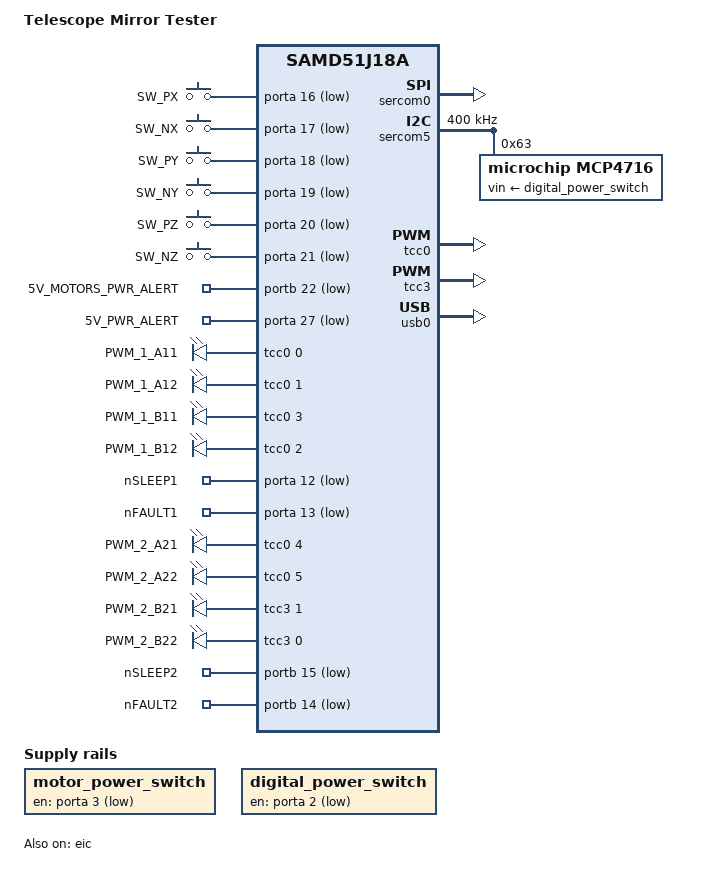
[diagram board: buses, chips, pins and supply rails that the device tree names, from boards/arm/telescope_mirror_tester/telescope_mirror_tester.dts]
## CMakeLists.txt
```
list(APPEND ZEPHYR_EXTRA_MODULES ${CMAKE_CURRENT_SOURCE_DIR}/mcp4716_driver_module)
list(APPEND ZEPHYR_EXTRA_MODULES ${CMAKE_CURRENT_SOURCE_DIR}/pmw3360_driver_module)

cmake_minimum_required(VERSION 3.13.1)

set(BOARD_ROOT ${CMAKE_CURRENT_SOURCE_DIR})
set(BOARD telescope_mirror_tester)

find_package(Zephyr REQUIRED HINTS $ENV{ZEPHYR_BASE})
project(telescope_mirror_tester)

target_sources(app PRIVATE src/main.c)
```

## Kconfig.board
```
# Telescope Mirror Tester board configuration

# Copyright (c) 2020 Google LLC.
# SPDX-License-Identifier: Apache-2.0

config BOARD_TELESCOPE_MIRROR_TESTER
	bool "Telescope Mirror Tester"
	depends on SOC_PART_NUMBER_SAMD51J18A
```

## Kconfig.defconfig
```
# Telescope Mirror Tester board configuration

# Copyright (c) 2020 Google LLC.
# SPDX-License-Identifier: Apache-2.0

config BOARD
	default "Telescope Mirror Tester"
	depends on BOARD_TELESCOPE_MIRROR_TESTER
```

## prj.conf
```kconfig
CONFIG_USB=y
CONFIG_USB_DEVICE_STACK=y
CONFIG_USB_DEVICE_PRODUCT="Telescope Mirror Tester"
CONFIG_USB_UART_CONSOLE=y

CONFIG_UART_INTERRUPT_DRIVEN=y
CONFIG_UART_LINE_CTRL=y
CONFIG_UART_SHELL_ON_DEV_NAME="CDC_ACM_0"

CONFIG_SHELL=y
CONFIG_SHELL_BACKEND_SERIAL_INIT_PRIORITY=99

CONFIG_LOG=y
```

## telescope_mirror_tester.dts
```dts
/*
 * Copyright (c) 2020 Google LLC.
 *
 * SPDX-License-Identifier: Apache-2.0
 */

/dts-v1/;
#include <atmel/samd5xx18.dtsi>

/ {
	model = "Telescope Mirror Tester";
	compatible = "";

	chosen {
		zephyr,console = &sercom3;
		zephyr,shell-uart = &sercom3;
		zephyr,sram = &sram0;
		zephyr,flash = &flash0;
		zephyr,code-partition = &code_partition;
	};

	/* These aliases are provided for compatibility with samples */
	aliases {
		led0 = &led0;
		pwm-led0 = &pwm_led0;
		pwm-0 = &tcc0;
	};

	leds {
		compatible = "gpio-leds";
		led0: led_0 {
			gpios = <&porta 22 0>;
			label = "LED";
		};
	};

	pwmleds {
		compatible = "pwm-leds";
		pwm_led0: pwm_led_0 {
			pwms = <&tcc0 2>;
		};
	};
};

&cpu0 {
	clock-frequency = <120000000>;
};

&sercom3 {
	status = "okay";
	compatible = "atmel,sam0-uart";
	current-speed = <115200>;
	rxpo = <1>;
	txpo = <0>;
};

&sercom1 {
	status = "okay";
	compatible = "atmel,sam0-spi";
	dipo = <3>;
	dopo = <0>;

	#address-cells = <1>;
	#size-cells = <0>;
};

&tcc0 {
	status = "okay";
	compatible = "atmel,sam0-tcc-pwm";
	prescaler = <8>;

	#pwm-cells = <1>;
};

&usb0 {
	status = "okay";
};

&dmac {
	status = "okay";
};

&flash0 {
	partitions {
		compatible = "fixed-partitions";
		#address-cells = <1>;
		#size-cells = <1>;

		boot_partition: partition@0 {
			label = "uf2";
			reg = <0x00000000 DT_SIZE_K(16)>;
			read-only;
		};

		code_partition: partition@4000 {
			label = "code";
			reg = <0x4000 DT_SIZE_K(512-16-16)>;
			read-only;
		};

		/*
		 * The final 16 KiB is reserved for the application.
		 * Storage partition will be used by FCB/LittleFS/NVS
		 * if enabled.
		 */
		storage_partition: partition@7c000 {
			label = "storage";
			reg = <0x7c000 DT_SIZE_K(16)>;
		};
	};
};
```

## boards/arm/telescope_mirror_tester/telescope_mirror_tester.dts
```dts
/*
 * Copyright (c) 2020 Google LLC.
 *
 * SPDX-License-Identifier: Apache-2.0
 */

/dts-v1/;
#include <atmel/samd5xx18.dtsi>

/ {
	model = "Telescope Mirror Tester";
	compatible = "atmel,samd51j18a";

	chosen {
		zephyr,console = &sercom3;
		zephyr,shell-uart = &sercom3;
		zephyr,sram = &sram0;
		zephyr,flash = &flash0;
	};

	limit_switches {
		compatible = "gpio-keys";
		switch_positive_x: SW3_1 {
			gpios = <&porta 16 (GPIO_ACTIVE_LOW)>;
			label = "SW_PX";
		};
		switch_negative_x: SW3_3 {
			gpios = <&porta 17 (GPIO_ACTIVE_LOW)>;
			label = "SW_NX";
		};
		switch_positive_y: SW4_1 {
			gpios = <&porta 18 (GPIO_ACTIVE_LOW)>;
			label = "SW_PY";
		};
		switch_negative_y: SW4_3 {
			gpios = <&porta 19 (GPIO_ACTIVE_LOW)>;
			label = "SW_NY";
		};
		switch_positive_z: J11 {
			gpios = <&porta 20 (GPIO_ACTIVE_LOW)>;
			label = "SW_PZ";
		};
		switch_negative_z: J12 {
			gpios = <&porta 21 (GPIO_ACTIVE_LOW)>;
			label = "SW_NZ";
		};
	};

	power_monitor_flags {
		compatible = "gpio-keys";
		motor_drives_alert: OC_1 {
			gpios = <&portb 22 (GPIO_ACTIVE_LOW)>;
			label = "5V_MOTORS_PWR_ALERT";
		};
		laser_drive_alert: OC_2 {
			gpios = <&porta 27 (GPIO_ACTIVE_LOW)>;
			label = "5V_PWR_ALERT";
		};
	};

	power_switches {
		motor_power_switch: EN_1 {
			compatible = "regulator-fixed";
			enable-gpios = <&porta 3 (GPIO_ACTIVE_LOW)>;
			label = "5V_MOTORS_PWR_SWITCH";
			regulator-name = "5V_MOTORS_PWR_SWITCH";
		};
		digital_power_switch: EN_2 {
			compatible = "regulator-fixed-sync", "regulator-fixed";
			enable-gpios = <&porta 2 (GPIO_ACTIVE_LOW)>;
			label = "5V_PWR_SWITCH";
			regulator-name = "5V_PWR_SWITCH";
			regulator-boot-on;
			startup-delay-us = <10000>;
		};
	};

	motor_drive_1_pwm {
		compatible = "pwm-leds";
		pwm1x_pos: pwms_a11 {
			pwms = <&tcc0 0>;
			label = "PWM_1_A11";
		};
		pwm1x_neg: pwms_a12 {
			pwms = <&tcc0 1>;
			label = "PWM_1_A12";
		};
		pwm1y_pos: pwms_b11 {
			pwms = <&tcc0 3>;
			label = "PWM_1_B11";
		};
		pwm1y_neg: pwms_b12 {
			pwms = <&tcc0 2>;
			label = "PWM_1_B12";
		};
	};

	motor_drive_1_control {
		compatible = "gpio-keys";
		pwm_sleep_1: sleep_pwm1 {
			gpios = <&porta 12 GPIO_ACTIVE_LOW>;
			label = "nSLEEP1";
		};
		pwm_fault_1: fault_pwm1 {
			gpios = <&porta 13 GPIO_ACTIVE_LOW>;
			label = "nFAULT1";
		};
	};

	motor_drive_2_pwm {
		compatible = "pwm-leds";
		pwm2z_pos: pwms_a21 {
			pwms = <&tcc0 4>;
			label = "PWM_2_A21";
		};
		pwm2z_neg: pwms_a22 {
			pwms = <&tcc0 5>;
			label = "PWM_2_A22";
		};
		pwm2t_pos: pwms_b21 {
			pwms = <&tcc3 1>;
			label = "PWM_2_B21";
		};
		pwm2t_neg: pwms_b22 {
			pwms = <&tcc3 0>;
			label = "PWM_2_B22";
		};
	};
	
	motor_drive_2_control {
		compatible = "gpio-keys";
		pwm_sleep_2: sleep_pwm2 {
			gpios = <&portb 15 GPIO_ACTIVE_LOW>;
			label = "nSLEEP2";
		};
		pwm_fault_2: fault_pwm2 {
			gpios = <&portb 14 GPIO_ACTIVE_LOW>;
			label = "nFAULT2";
		};
	};
};

&cpu0 {
	clock-frequency = <120000000>;
};

&sercom0 {
	status = "okay";
	compatible = "atmel,sam0-spi";
	dipo = <2>;
	dopo = <0>;
	#address-cells = <1>;
	#size-cells = <0>;

	cs-gpios = <&portb 6 GPIO_ACTIVE_LOW>, <&portb 7 GPIO_ACTIVE_LOW>;

	x_pos_sensor: pwm3360@0 {
		vin-supply = <&digital_power_switch>;
		compatible = "pixart,pwm3360";
		reg = <0>;
		irq-gpios = <&porta 7 0>;
		spi-max-frequency = <2000000>;
		label = "PMW3360_X";
	};

	y_pos_sensor: pwm3360@1 {
		vin-supply = <&digital_power_switch>;
		compatible = "pixart,pwm3360";
		reg = <1>;
		irq-gpios = <&porta 7 0>;
		spi-max-frequency = <2000000>;
		label = "PMW3360_Y";
	};
};

&sercom5 {
	status = "okay";
	compatible = "atmel,sam0-i2c";
	clock-frequency = <I2C_BITRATE_FAST>;
	#address-cells = <1>;
	#size-cells = <0>;

	laser_dac: mcp4716@63 {
		vin-supply = <&digital_power_switch>;
		status = "okay";
		compatible = "microchip,mcp4716";
		label = "MCP4716";
		reg = <0x63>;
		#io-channel-cells = <1>;
	};
};

&tcc0 {
	status = "okay";
	compatible = "atmel,sam0-tcc-pwm";
	prescaler = <8>;
	#pwm-cells = <1>;
};

&tcc3 {
	status = "okay";
	compatible = "atmel,sam0-tcc-pwm";
	prescaler = <8>;
	#pwm-cells = <1>;
};

&porta {
	status = "okay";
	compatible = "atmel,sam0-gpio";
	gpio-controller;
	#gpio-cells = <2>;
};

&portb {
	status = "okay";
	compatible = "atmel,sam0-gpio";
	gpio-controller;
	#gpio-cells = <2>;
};

&usb0 {
	status = "okay";
};

&dmac {
	status = "okay";
};

&eic {
	status = "okay";
};
```

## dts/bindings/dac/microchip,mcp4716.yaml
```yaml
description: Microchip MCP4716 10-bit 1 channel DAC

compatible: "microchip,mcp4716"

include: [dac-controller.yaml, i2c-device.yaml]

properties:
    "#io-channel-cells":
      const: 1

io-channel-cells:
    - output
```

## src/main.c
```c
#include <zephyr.h>
#include <device.h>
#include <drivers/gpio.h>
#include <drivers/uart.h>
#include <drivers/pwm.h>
#include <drivers/dac.h>
#include <drivers/video.h>
#include <usb/usb_device.h>
#include <shell/shell.h>
#include <string.h>
#include <stdlib.h>

LOG_MODULE_REGISTER(main, CONFIG_LOG_DEFAULT_LEVEL);


static int cmd_motor(const struct shell *shell, size_t argc, char **argv)
{
	bool is_positive_motion;
	int32_t pwm_value;
	uint32_t pwm_pos_value, pwm_neg_value, pin_value;
	const struct device *pwm_pos, *pwm_neg;
	const struct device *swtch;

	if (argc != 3) {
		return -1; // Expected 3 arguments.
	}

	pwm_value = atoi(argv[2]);

	if ((pwm_value >= -100) && (pwm_value < 0)) {
		pwm_pos_value = 0;
		pwm_neg_value = ((20U * USEC_PER_MSEC)*(-pwm_value))/100;
		is_positive_motion = false;
	}
	else if ((pwm_value >= 0) && (pwm_value <= 100)) {
		pwm_pos_value = ((20U * USEC_PER_MSEC)*pwm_value)/100;
		pwm_neg_value = 0;
		is_positive_motion = true;
	}
	else {
		return -1; // Setpoint out of range.
	}

	if (strcmp(argv[1], "x") == 0) {
		if (is_positive_motion) {
			swtch = device_get_binding(DT_GPIO_LABEL(DT_NODELABEL(switch_positive_x), gpios));
			pin_value = gpio_pin_get(swtch, DT_GPIO_PIN(DT_NODELABEL(switch_positive_x), gpios));

			if (pin_value == 1) {
				return 0;
			}
		} else {
			swtch = device_get_binding(DT_GPIO_LABEL(DT_NODELABEL(switch_negative_x), gpios));
			pin_value = gpio_pin_get(swtch, DT_GPIO_PIN(DT_NODELABEL(switch_negative_x), gpios));

			if (pin_value == 1) {
				return 0;
			}
		}

		pwm_pos = device_get_binding(DT_LABEL(DT_PWMS_CTLR(DT_NODELABEL(pwm1x_pos))));
		pwm_neg = device_get_binding(DT_LABEL(DT_PWMS_CTLR(DT_NODELABEL(pwm1x_neg))));

		pwm_pin_set_usec(pwm_pos, DT_PWMS_CHANNEL(DT_NODELABEL(pwm1x_pos)),
					(20U * USEC_PER_MSEC), pwm_pos_value, 0);
		pwm_pin_set_usec(pwm_neg, DT_PWMS_CHANNEL(DT_NODELABEL(pwm1x_neg)),
					(20U * USEC_PER_MSEC), pwm_neg_value, 0);

	} else if (strcmp(argv[1], "y") == 0) {
		if (is_positive_motion) {
			swtch = device_get_binding(DT_GPIO_LABEL(DT_NODELABEL(switch_positive_y), gpios));
			pin_value = gpio_pin_get(swtch, DT_GPIO_PIN(DT_NODELABEL(switch_positive_y), gpios));

			if (pin_value == 1) {
				return 0;
			}
		} else {
			swtch = device_get_binding(DT_GPIO_LABEL(DT_NODELABEL(switch_negative_y), gpios));
			pin_value = gpio_pin_get(swtch, DT_GPIO_PIN(DT_NODELABEL(switch_negative_y), gpios));

			if (pin_value == 1) {
				return 0;
			}
		}

		pwm_pos = device_get_binding(DT_LABEL(DT_PWMS_CTLR(DT_NODELABEL(pwm1y_pos))));
		pwm_neg = device_get_binding(DT_LABEL(DT_PWMS_CTLR(DT_NODELABEL(pwm1y_neg))));

		pwm_pin_set_usec(pwm_pos, DT_PWMS_CHANNEL(DT_NODELABEL(pwm1y_pos)),
					(20U * USEC_PER_MSEC), pwm_pos_value, 0);
		pwm_pin_set_usec(pwm_neg, DT_PWMS_CHANNEL(DT_NODELABEL(pwm1y_neg)),
					(20U * USEC_PER_MSEC), pwm_neg_value, 0);

	} else if (strcmp(argv[1], "z") == 0) {
		if (is_positive_motion) {
			swtch = device_get_binding(DT_GPIO_LABEL(DT_NODELABEL(switch_positive_z), gpios));
			pin_value = gpio_pin_get(swtch, DT_GPIO_PIN(DT_NODELABEL(switch_positive_z), gpios));

			if (pin_value == 1) {
				return 0;
			}
		} else {
			swtch = device_get_binding(DT_GPIO_LABEL(DT_NODELABEL(switch_negative_z), gpios));
			pin_value = gpio_pin_get(swtch, DT_GPIO_PIN(DT_NODELABEL(switch_negative_z), gpios));

			if (pin_value == 1) {
				return 0;
			}
		}

		pwm_pos = device_get_binding(DT_LABEL(DT_PWMS_CTLR(DT_NODELABEL(pwm2z_pos))));
		pwm_neg = device_get_binding(DT_LABEL(DT_PWMS_CTLR(DT_NODELABEL(pwm2z_neg))));

		pwm_pin_set_usec(pwm_pos, DT_PWMS_CHANNEL(DT_NODELABEL(pwm2z_pos)),
					(20U * USEC_PER_MSEC), pwm_pos_value, 0);
		pwm_pin_set_usec(pwm_neg, DT_PWMS_CHANNEL(DT_NODELABEL(pwm2z_neg)),
					(20U * USEC_PER_MSEC), pwm_neg_value, 0);

	} else if (strcmp(argv[1], "t") == 0) {
		pwm_pos = device_get_binding(DT_LABEL(DT_PWMS_CTLR(DT_NODELABEL(pwm2t_pos))));
		pwm_neg = device_get_binding(DT_LABEL(DT_PWMS_CTLR(DT_NODELABEL(pwm2t_neg))));

		shell_print(shell, "enter");

		if (pwm_neg == NULL) {
			shell_print(shell, "NULL neg");
		}

		if (pwm_pos == NULL) {
			shell_print(shell, "NULL pos");
		}
		int ret1, ret2;
		ret1 = pwm_pin_set_usec(pwm_pos, DT_PWMS_CHANNEL(DT_NODELABEL(pwm2t_pos)),
					(20U * USEC_PER_MSEC), pwm_pos_value, 0);
		ret2 = pwm_pin_set_usec(pwm_neg, DT_PWMS_CHANNEL(DT_NODELABEL(pwm2t_neg)),
					(20U * USEC_PER_MSEC), pwm_neg_value, 0);

		if (ret1 == 0) {
			shell_print(shell, "ret1 0");
		}

		if (ret2 == 0) {
			shell_print(shell, "ret2 0");
		}

	} else {
		return -1; // Expected argument not found.
	}

	return 0;
}

static int cmd_laser(const struct shell *shell, size_t argc, char **argv)
{
	int32_t laser_value;
	const struct device *laser;
	const uint32_t dac_max_value = 0x07FF;

	if (argc != 2) {
		return -1; // Expected 2 arguments.
	}

	laser = device_get_binding(DT_LABEL(DT_NODELABEL(laser_dac)));

	laser_value = atoi(argv[1]);

	if((laser_value < 0) || (laser_value > dac_max_value)) {
		shell_error(shell, "Laser intensity must be between 0 and 2047.");
		return -1;
	}

	laser_value = dac_max_value - laser_value;

	return dac_write_value(laser, 0, (uint32_t)laser_value);
}

static int cmd_switches(const struct shell *shell, size_t argc, char **argv)
{
	int32_t laser_value;
	const struct device *laser;
	const uint32_t dac_max_value = 0x07FF;
/*
	sensor = device_get_binding("SERCOM0");

	DT_SPI_DEV_CS_GPIOS_PIN(DT_NODELABEL(x_pos_sensor))
	DT_SPI_DEV_CS_GPIOS_PIN(DT_NODELABEL(y_pos_sensor))

	err = gpio_pin_configure(dev_data->cs_gpio_dev, PMW3360_CS_GPIO_PIN,
				 GPIO_OUTPUT);
	err = gpio_pin_set_raw(dev_data->cs_gpio_dev, PMW3360_CS_GPIO_PIN, val);
*/
	return 0;
}

static int cmd_sensor(const struct shell *shell, size_t argc, char **argv)
{
	struct video_buffer *buffer, *vbuf;
	struct video_format fmt;
	const struct device *video;
	unsigned int frame = 0;
	size_t bsize;
	int err, i = 0;

	if (argc != 2) {
		return -1; // Expected 2 arguments.
	}

	if (strcmp(argv[1], "x") == 0) {
		video = device_get_binding(DT_LABEL(DT_NODELABEL(x_pos_sensor)));
		if (video == NULL) {
			LOG_ERR("Video device not found");
			return -1;
		}
	} else if (strcmp(argv[1], "y") == 0) {
		video = device_get_binding(DT_LABEL(DT_NODELABEL(y_pos_sensor)));
		if (video == NULL) {
			LOG_ERR("Video device not found");
			return -1;
		}
	}
	else {
		return -1;
	}

	/* Get default/native format */
	if (video_get_format(video, VIDEO_EP_OUT, &fmt)) {
		LOG_ERR("Unable to retrieve video format");
		return -1;
	}

	/* Size to allocate for each buffer */
	bsize = fmt.pitch * fmt.height;

	/* Alloc video buffers and enqueue for capture */
	buffer = video_buffer_alloc(bsize);
	if (buffer == NULL) {
		LOG_ERR("Unable to alloc video buffer of %d", bsize);
		return -1;
	}

	video_enqueue(video, VIDEO_EP_OUT, buffer);

	/* Start video capture */
	if (video_stream_start(video)) {
		LOG_ERR("Unable to start capture (interface)");
		video_buffer_release(buffer);
		return -1;
	}

	/* Grab video frame */
	err = video_dequeue(video, VIDEO_EP_OUT, &vbuf, K_FOREVER);
	if (err) {
		LOG_ERR("Unable to dequeue video buf");
		video_buffer_release(buffer);
		return -1;
	}

	/* Stop video capture */
	if (video_stream_stop(video)) {
		LOG_ERR("Unable to stop capture (interface)");
		video_buffer_release(buffer);
		return -1;
	}

	shell_hexdump(shell, vbuf->buffer, bsize);

	video_buffer_release(buffer);

	return 0;
}

SHELL_CMD_REGISTER(motor, NULL, "Set motor pwm duty cycle in {x, y, z or t} axis to % value (range -100 to 100). Usage syntax: motor [axis] [value]", cmd_motor);
SHELL_CMD_REGISTER(laser, NULL, "Set laser intensity to % value (range 0 to 100). Usage syntax: laser [value]", cmd_laser);
SHELL_CMD_REGISTER(switches, NULL, "Report end switches state", cmd_switches);
SHELL_CMD_REGISTER(sensor, NULL, "Report end switches state", cmd_sensor);


static struct gpio_callback sw_px_cb_data, sw_nx_cb_data, sw_py_cb_data,
							sw_ny_cb_data, sw_pz_cb_data, sw_nz_cb_data;

void limit_switch_reached(const struct device *port, struct gpio_callback *cb, gpio_port_pins_t pins)
{	
	const struct device *pwm_pos, *pwm_neg;

	ARG_UNUSED(port);
	ARG_UNUSED(cb);

	switch(pins) {
		case BIT(DT_GPIO_PIN(DT_NODELABEL(switch_positive_x), gpios)):
		case BIT(DT_GPIO_PIN(DT_NODELABEL(switch_negative_x), gpios)):
			pwm_pos = device_get_binding(DT_LABEL(DT_PWMS_CTLR(DT_NODELABEL(pwm1x_pos))));
			pwm_neg = device_get_binding(DT_LABEL(DT_PWMS_CTLR(DT_NODELABEL(pwm1x_neg))));

			pwm_pin_set_usec(pwm_pos, DT_PWMS_CHANNEL(DT_NODELABEL(pwm1x_pos)),
						(20U * USEC_PER_MSEC), 0, 0);
			pwm_pin_set_usec(pwm_neg, DT_PWMS_CHANNEL(DT_NODELABEL(pwm1x_neg)),
						(20U * USEC_PER_MSEC), 0, 0);
			break;
		case BIT(DT_GPIO_PIN(DT_NODELABEL(switch_positive_y), gpios)):
		case BIT(DT_GPIO_PIN(DT_NODELABEL(switch_negative_y), gpios)):
			pwm_pos = device_get_binding(DT_LABEL(DT_PWMS_CTLR(DT_NODELABEL(pwm1y_pos))));
			pwm_neg = device_get_binding(DT_LABEL(DT_PWMS_CTLR(DT_NODELABEL(pwm1y_neg))));

			pwm_pin_set_usec(pwm_pos, DT_PWMS_CHANNEL(DT_NODELABEL(pwm1y_pos)),
						(20U * USEC_PER_MSEC), 0, 0);
			pwm_pin_set_usec(pwm_neg, DT_PWMS_CHANNEL(DT_NODELABEL(pwm1y_neg)),
						(20U * USEC_PER_MSEC), 0, 0);
			break;
		case BIT(DT_GPIO_PIN(DT_NODELABEL(switch_positive_z), gpios)):
		case BIT(DT_GPIO_PIN(DT_NODELABEL(switch_negative_z), gpios)):
			pwm_pos = device_get_binding(DT_LABEL(DT_PWMS_CTLR(DT_NODELABEL(pwm2z_pos))));
			pwm_neg = device_get_binding(DT_LABEL(DT_PWMS_CTLR(DT_NODELABEL(pwm2z_neg))));

			pwm_pin_set_usec(pwm_pos, DT_PWMS_CHANNEL(DT_NODELABEL(pwm2z_pos)),
						(20U * USEC_PER_MSEC), 0, 0);
			pwm_pin_set_usec(pwm_neg, DT_PWMS_CHANNEL(DT_NODELABEL(pwm2z_neg)),
						(20U * USEC_PER_MSEC), 0, 0);
			break;
		default:
			return;
	}
}

void initialize_limit_switches(void)
{
	const struct device *sw_px, *sw_nx, *sw_py, *sw_ny, *sw_pz, *sw_nz;
	int sw_px_ret, sw_nx_ret, sw_py_ret, sw_ny_ret, sw_pz_ret, sw_nz_ret;

	sw_px = device_get_binding(DT_GPIO_LABEL(DT_NODELABEL(switch_positive_x), gpios));
	sw_nx = device_get_binding(DT_GPIO_LABEL(DT_NODELABEL(switch_negative_x), gpios));
	sw_py = device_get_binding(DT_GPIO_LABEL(DT_NODELABEL(switch_positive_y), gpios));
	sw_ny = device_get_binding(DT_GPIO_LABEL(DT_NODELABEL(switch_negative_y), gpios));
	sw_pz = device_get_binding(DT_GPIO_LABEL(DT_NODELABEL(switch_positive_z), gpios));
	sw_nz = device_get_binding(DT_GPIO_LABEL(DT_NODELABEL(switch_negative_z), gpios));

	if ((sw_px == NULL) || (sw_nx == NULL) || (sw_py == NULL)
	|| (sw_ny == NULL) || (sw_pz == NULL) || (sw_nz == NULL)) {
		return;
	}

	sw_px_ret = gpio_pin_configure(sw_px,
									DT_GPIO_PIN(DT_NODELABEL(switch_positive_x), gpios),
									GPIO_INPUT | DT_GPIO_FLAGS(DT_NODELABEL(switch_positive_x), gpios));
	sw_nx_ret = gpio_pin_configure(sw_nx,
									DT_GPIO_PIN(DT_NODELABEL(switch_negative_x), gpios),
									GPIO_INPUT | DT_GPIO_FLAGS(DT_NODELABEL(switch_negative_x), gpios));
	sw_py_ret = gpio_pin_configure(sw_py,
									DT_GPIO_PIN(DT_NODELABEL(switch_positive_y), gpios),
									GPIO_INPUT | DT_GPIO_FLAGS(DT_NODELABEL(switch_positive_y), gpios));
	sw_ny_ret = gpio_pin_configure(sw_ny,
									DT_GPIO_PIN(DT_NODELABEL(switch_negative_y), gpios),
									GPIO_INPUT | DT_GPIO_FLAGS(DT_NODELABEL(switch_negative_y), gpios));
	sw_pz_ret = gpio_pin_configure(sw_pz,
									DT_GPIO_PIN(DT_NODELABEL(switch_positive_z), gpios),
									GPIO_INPUT | DT_GPIO_FLAGS(DT_NODELABEL(switch_positive_z), gpios));
	sw_nz_ret = gpio_pin_configure(sw_nz,
									DT_GPIO_PIN(DT_NODELABEL(switch_negative_z), gpios),
									GPIO_INPUT | DT_GPIO_FLAGS(DT_NODELABEL(switch_negative_z), gpios));

	if ((sw_px_ret != 0) || (sw_nx_ret != 0) || (sw_py_ret != 0)
	|| (sw_ny_ret != 0) || (sw_pz_ret != 0) || (sw_nz_ret != 0)) {
		return;
	}

	sw_px_ret = gpio_pin_interrupt_configure(sw_px,
											DT_GPIO_PIN(DT_NODELABEL(switch_positive_x), gpios),
											GPIO_INT_EDGE_TO_ACTIVE);
	sw_nx_ret = gpio_pin_interrupt_configure(sw_nx,
											DT_GPIO_PIN(DT_NODELABEL(switch_negative_x), gpios),
											GPIO_INT_EDGE_TO_ACTIVE);
	sw_py_ret = gpio_pin_interrupt_configure(sw_py,
											DT_GPIO_PIN(DT_NODELABEL(switch_positive_y), gpios),
											GPIO_INT_EDGE_TO_ACTIVE);
	sw_ny_ret = gpio_pin_interrupt_configure(sw_ny,
											DT_GPIO_PIN(DT_NODELABEL(switch_negative_y), gpios),
											GPIO_INT_EDGE_TO_ACTIVE);
	sw_pz_ret = gpio_pin_interrupt_configure(sw_pz,
											DT_GPIO_PIN(DT_NODELABEL(switch_positive_z), gpios),
											GPIO_INT_EDGE_TO_ACTIVE);
	sw_nz_ret = gpio_pin_interrupt_configure(sw_nz,
											DT_GPIO_PIN(DT_NODELABEL(switch_negative_z), gpios),
											GPIO_INT_EDGE_TO_ACTIVE);
	
	if ((sw_px_ret != 0) || (sw_nx_ret != 0) || (sw_py_ret != 0)
	|| (sw_ny_ret != 0) || (sw_pz_ret != 0) || (sw_nz_ret != 0)) {
		return;
	}

	gpio_init_callback(&sw_px_cb_data, limit_switch_reached,
						BIT(DT_GPIO_PIN(DT_NODELABEL(switch_positive_x), gpios)));
	gpio_init_callback(&sw_nx_cb_data, limit_switch_reached,
						BIT(DT_GPIO_PIN(DT_NODELABEL(switch_negative_x), gpios)));
	gpio_init_callback(&sw_py_cb_data, limit_switch_reached,
						BIT(DT_GPIO_PIN(DT_NODELABEL(switch_positive_y), gpios)));
	gpio_init_callback(&sw_ny_cb_data, limit_switch_reached,
						BIT(DT_GPIO_PIN(DT_NODELABEL(switch_negative_y), gpios)));
	gpio_init_callback(&sw_pz_cb_data, limit_switch_reached,
						BIT(DT_GPIO_PIN(DT_NODELABEL(switch_positive_z), gpios)));
	gpio_init_callback(&sw_nz_cb_data, limit_switch_reached,
						BIT(DT_GPIO_PIN(DT_NODELABEL(switch_negative_z), gpios)));

	gpio_add_callback(sw_px, &sw_px_cb_data);
	gpio_add_callback(sw_nx, &sw_nx_cb_data);
	gpio_add_callback(sw_py, &sw_py_cb_data);
	gpio_add_callback(sw_ny, &sw_ny_cb_data);
	gpio_add_callback(sw_pz, &sw_pz_cb_data);
	gpio_add_callback(sw_nz, &sw_nz_cb_data);
}


static struct gpio_callback motor_alert_cb_data, laser_alert_cb_data;

void power_switch_alert(const struct device *port, struct gpio_callback *cb, gpio_port_pins_t pins)
{

	ARG_UNUSED(port);
	ARG_UNUSED(cb);

}

void initialize_power_switch(void)
{
	const struct device *motor_pwr_switch, *motor_alert, *laser_driver, *laser_alert;
	int motor_pwr_switch_ret, motor_alert_ret, laser_driver_ret, laser_alert_ret;

	motor_pwr_switch = device_get_binding(DT_GPIO_LABEL(DT_NODELABEL(motor_power_switch), enable_gpios));
	motor_alert = device_get_binding(DT_GPIO_LABEL(DT_NODELABEL(motor_drives_alert), gpios));
	laser_alert = device_get_binding(DT_GPIO_LABEL(DT_NODELABEL(laser_drive_alert), gpios));

	if ((motor_pwr_switch == NULL) || (motor_alert == NULL)	|| (laser_alert == NULL)) {
		return;
	}

	motor_pwr_switch_ret = gpio_pin_configure(motor_pwr_switch,
									DT_GPIO_PIN(DT_NODELABEL(motor_power_switch), enable_gpios),
									GPIO_OUTPUT | DT_GPIO_FLAGS(DT_NODELABEL(motor_power_switch), enable_gpios));
	motor_alert_ret = gpio_pin_configure(motor_alert,
									DT_GPIO_PIN(DT_NODELABEL(motor_drives_alert), gpios),
									GPIO_INPUT | DT_GPIO_FLAGS(DT_NODELABEL(motor_drives_alert), gpios));
	laser_alert_ret = gpio_pin_configure(laser_alert,
									DT_GPIO_PIN(DT_NODELABEL(laser_drive_alert), gpios),
									GPIO_INPUT | DT_GPIO_FLAGS(DT_NODELABEL(laser_drive_alert), gpios));

	if ((motor_pwr_switch_ret != 0) || (motor_alert_ret != 0) || (laser_alert_ret != 0)) {
		return;
	}

	motor_pwr_switch_ret = gpio_pin_set(motor_pwr_switch, DT_GPIO_PIN(DT_NODELABEL(motor_power_switch), enable_gpios), 1);

	if (motor_pwr_switch_ret != 0) {
		return;
	}

	motor_alert_ret = gpio_pin_interrupt_configure(motor_alert,
											DT_GPIO_PIN(DT_NODELABEL(motor_drives_alert), gpios),
											GPIO_INT_EDGE_TO_ACTIVE);
	laser_alert_ret = gpio_pin_interrupt_configure(laser_alert,
											DT_GPIO_PIN(DT_NODELABEL(laser_drive_alert), gpios),
											GPIO_INT_EDGE_TO_ACTIVE);
	
	if ((motor_alert_ret != 0) || (laser_alert_ret != 0)) {
		return;
	}

	gpio_init_callback(&motor_alert_cb_data, power_switch_alert,
						BIT(DT_GPIO_PIN(DT_NODELABEL(motor_drives_alert), gpios)));
	gpio_init_callback(&laser_alert_cb_data, power_switch_alert,
						BIT(DT_GPIO_PIN(DT_NODELABEL(laser_drive_alert), gpios)));

	gpio_add_callback(motor_alert, &motor_alert_cb_data);
	gpio_add_callback(laser_alert, &laser_alert_cb_data);
}


static struct gpio_callback pwm1_alert_cb_data, pwm2_alert_cb_data;

void pwm_alert(const struct device *port, struct gpio_callback *cb, gpio_port_pins_t pins)
{

	ARG_UNUSED(port);
	ARG_UNUSED(cb);

}

void initialize_motor_drives(void)
{
	const struct device *pwm1_sleep, *pwm1_fault, *pwm2_sleep, *pwm2_fault;
	int pwm1_sleep_ret, pwm1_fault_ret, pwm2_sleep_ret, pwm2_fault_ret;

	pwm1_sleep = device_get_binding(DT_GPIO_LABEL(DT_NODELABEL(pwm_sleep_1), gpios));
	pwm1_fault = device_get_binding(DT_GPIO_LABEL(DT_NODELABEL(pwm_fault_1), gpios));
	pwm2_sleep = device_get_binding(DT_GPIO_LABEL(DT_NODELABEL(pwm_sleep_2), gpios));
	pwm2_fault = device_get_binding(DT_GPIO_LABEL(DT_NODELABEL(pwm_fault_2), gpios));

	if ((pwm1_sleep == NULL) || (pwm1_fault == NULL) || (pwm2_sleep == NULL) || (pwm2_fault == NULL)) {
		return;
	}

	pwm1_sleep_ret = gpio_pin_configure(pwm1_sleep,
									DT_GPIO_PIN(DT_NODELABEL(pwm_sleep_1), gpios),
									GPIO_OUTPUT | DT_GPIO_FLAGS(DT_NODELABEL(pwm_sleep_1), gpios));
	pwm1_fault_ret = gpio_pin_configure(pwm1_fault,
									DT_GPIO_PIN(DT_NODELABEL(pwm_fault_1), gpios),
									GPIO_INPUT | DT_GPIO_FLAGS(DT_NODELABEL(pwm_fault_1), gpios));
	pwm2_sleep_ret = gpio_pin_configure(pwm2_sleep,
									DT_GPIO_PIN(DT_NODELABEL(pwm_sleep_2), gpios),
									GPIO_OUTPUT | DT_GPIO_FLAGS(DT_NODELABEL(pwm_sleep_2), gpios));
	pwm2_fault_ret = gpio_pin_configure(pwm2_fault,
									DT_GPIO_PIN(DT_NODELABEL(pwm_fault_2), gpios),
									GPIO_INPUT | DT_GPIO_FLAGS(DT_NODELABEL(pwm_fault_2), gpios));

	if ((pwm1_sleep_ret != 0) || (pwm1_fault_ret != 0) || (pwm2_sleep_ret != 0)
	|| (pwm2_fault_ret != 0)) {
		return;
	}

	gpio_pin_set(pwm1_sleep, DT_GPIO_PIN(DT_NODELABEL(pwm_sleep_1), gpios), 0);
	gpio_pin_set(pwm2_sleep, DT_GPIO_PIN(DT_NODELABEL(pwm_sleep_2), gpios), 0);

	pwm1_fault_ret = gpio_pin_interrupt_configure(pwm1_fault,
											DT_GPIO_PIN(DT_NODELABEL(pwm_fault_1), gpios),
											GPIO_INT_EDGE_TO_ACTIVE);
	pwm2_fault_ret = gpio_pin_interrupt_configure(pwm2_fault,
											DT_GPIO_PIN(DT_NODELABEL(pwm_fault_2), gpios),
											GPIO_INT_EDGE_TO_ACTIVE);
	
	if ((pwm1_fault_ret != 0) || (pwm2_fault_ret != 0)) {
		return;
	}

	gpio_init_callback(&pwm1_alert_cb_data, pwm_alert,
						BIT(DT_GPIO_PIN(DT_NODELABEL(pwm_fault_1), gpios)));
	gpio_init_callback(&pwm2_alert_cb_data, pwm_alert,
						BIT(DT_GPIO_PIN(DT_NODELABEL(pwm_fault_2), gpios)));

	gpio_add_callback(pwm1_fault, &pwm1_alert_cb_data);
	gpio_add_callback(pwm2_fault, &pwm2_alert_cb_data);


	const struct device *pwm1_x_pos, *pwm1_x_neg, *pwm1_y_pos, *pwm1_y_neg;
	const struct device *pwm2_z_pos, *pwm2_z_neg, *pwm2_t_pos, *pwm2_t_neg;

	pwm1_x_pos = device_get_binding(DT_LABEL(DT_PWMS_CTLR(DT_NODELABEL(pwm1x_pos))));
	pwm1_x_neg = device_get_binding(DT_LABEL(DT_PWMS_CTLR(DT_NODELABEL(pwm1x_neg))));
	pwm1_y_pos = device_get_binding(DT_LABEL(DT_PWMS_CTLR(DT_NODELABEL(pwm1y_pos))));
	pwm1_y_neg = device_get_binding(DT_LABEL(DT_PWMS_CTLR(DT_NODELABEL(pwm1y_neg))));
	pwm2_z_pos = device_get_binding(DT_LABEL(DT_PWMS_CTLR(DT_NODELABEL(pwm2z_pos))));
	pwm2_z_neg = device_get_binding(DT_LABEL(DT_PWMS_CTLR(DT_NODELABEL(pwm2z_neg))));
	pwm2_t_pos = device_get_binding(DT_LABEL(DT_PWMS_CTLR(DT_NODELABEL(pwm2t_pos))));
	pwm2_t_neg = device_get_binding(DT_LABEL(DT_PWMS_CTLR(DT_NODELABEL(pwm2t_neg))));

	if ((pwm1_x_pos == NULL) || (pwm1_x_neg == NULL) || (pwm1_y_pos == NULL) || (pwm1_y_neg == NULL) ||
	(pwm2_z_pos == NULL) || (pwm2_z_neg == NULL) || (pwm2_t_pos == NULL) || (pwm2_t_neg == NULL)) {
		return;
	}

	pwm_pin_set_usec(pwm1_x_pos, DT_PWMS_CHANNEL(DT_NODELABEL(pwm1x_pos)),
					(20U * USEC_PER_MSEC), 0, 0);
	pwm_pin_set_usec(pwm1_x_neg, DT_PWMS_CHANNEL(DT_NODELABEL(pwm1x_neg)),
					(20U * USEC_PER_MSEC), 0, 0);
	pwm_pin_set_usec(pwm1_y_pos, DT_PWMS_CHANNEL(DT_NODELABEL(pwm1y_pos)),
					(20U * USEC_PER_MSEC), 0, 0);
	pwm_pin_set_usec(pwm1_y_neg, DT_PWMS_CHANNEL(DT_NODELABEL(pwm1y_neg)),
					(20U * USEC_PER_MSEC), 0, 0);
	pwm_pin_set_usec(pwm2_z_pos, DT_PWMS_CHANNEL(DT_NODELABEL(pwm2z_pos)),
					(20U * USEC_PER_MSEC), 0, 0);
	pwm_pin_set_usec(pwm2_z_neg, DT_PWMS_CHANNEL(DT_NODELABEL(pwm2z_neg)),
					(20U * USEC_PER_MSEC), 0, 0);
	pwm_pin_set_usec(pwm2_t_pos, DT_PWMS_CHANNEL(DT_NODELABEL(pwm2t_pos)),
					(20U * USEC_PER_MSEC), 0, 0);
	pwm_pin_set_usec(pwm2_t_neg, DT_PWMS_CHANNEL(DT_NODELABEL(pwm2t_neg)),
					(20U * USEC_PER_MSEC), 0, 0);
}

void initialize_laser_driver(void)
{
	const struct device *laser_driver;
	const struct dac_channel_cfg dac_ch_cfg = {
		.channel_id  = 0,
		.resolution  = 10,
	};

	laser_driver = device_get_binding(DT_LABEL(DT_NODELABEL(laser_dac)));
	if (laser_driver == NULL) {
		return;
	}

	dac_channel_setup(laser_driver, &dac_ch_cfg);
}

void initialize_shell_port(void)
{
	const struct device *dev;
	uint32_t dtr = 0;

	dev = device_get_binding(CONFIG_UART_SHELL_ON_DEV_NAME);
	if (dev == NULL || usb_enable(NULL)) {
		return;
	}

	k_sleep(K_MSEC(100));
	uart_line_ctrl_get(dev, UART_LINE_CTRL_DTR, &dtr);
}

void main(void)
{
	const struct device *dev;
	uint32_t dtr = 0;

	initialize_limit_switches();
	initialize_shell_port();
	initialize_power_switch();
	initialize_motor_drives();
	initialize_laser_driver();

	dev = device_get_binding(CONFIG_UART_SHELL_ON_DEV_NAME);
	if (dev == NULL) {
		return;
	}

	while (!dtr) {
		uart_line_ctrl_get(dev, UART_LINE_CTRL_DTR, &dtr);
		k_sleep(K_MSEC(100));
	}
}
```
